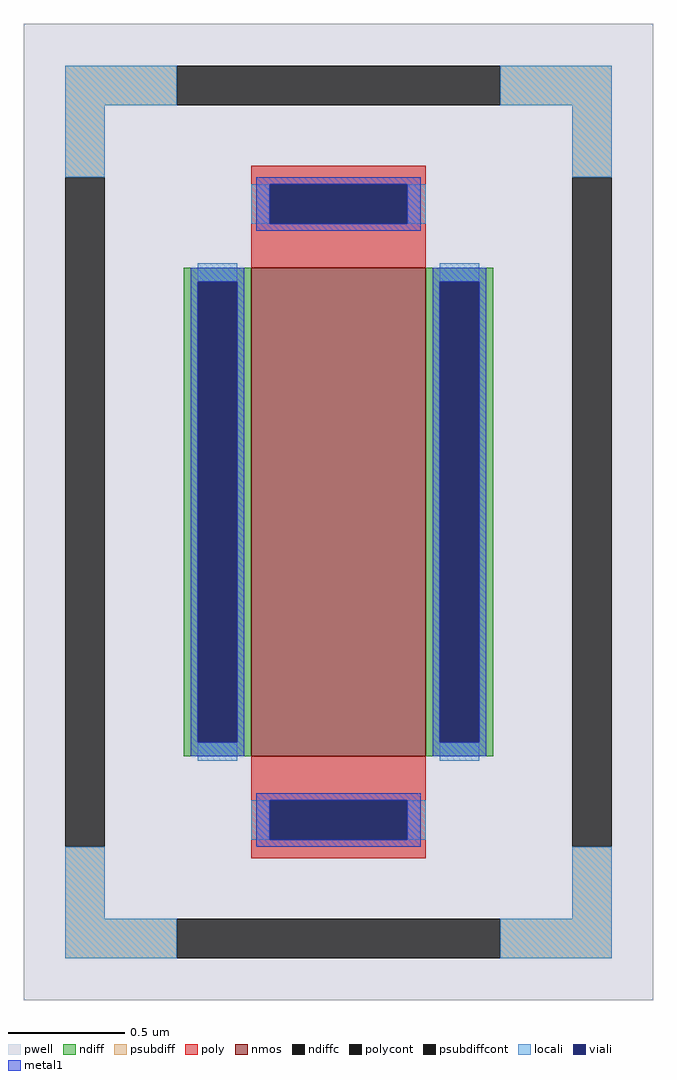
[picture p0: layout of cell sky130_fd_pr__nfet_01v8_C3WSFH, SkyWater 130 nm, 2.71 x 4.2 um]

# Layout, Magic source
magic
tech sky130A
magscale 1 2
<< pwell >>
rect -271 -420 271 420
<< nmos >>
rect -75 -210 75 210
<< ndiff >>
rect -133 198 -75 210
rect -133 -198 -121 198
rect -87 -198 -75 198
rect -133 -210 -75 -198
rect 75 198 133 210
rect 75 -198 87 198
rect 121 -198 133 198
rect 75 -210 133 -198
<< ndiffc >>
rect -121 -198 -87 198
rect 87 -198 121 198
<< psubdiff >>
rect -235 350 -139 384
rect 139 350 235 384
rect -235 288 -201 350
rect 201 288 235 350
rect -235 -350 -201 -288
rect 201 -350 235 -288
rect -235 -384 -139 -350
rect 139 -384 235 -350
<< psubdiffcont >>
rect -139 350 139 384
rect -235 -288 -201 288
rect 201 -288 235 288
rect -139 -384 139 -350
<< poly >>
rect -75 282 75 298
rect -75 248 -59 282
rect 59 248 75 282
rect -75 210 75 248
rect -75 -248 75 -210
rect -75 -282 -59 -248
rect 59 -282 75 -248
rect -75 -298 75 -282
<< polycont >>
rect -59 248 59 282
rect -59 -282 59 -248
<< locali >>
rect -235 350 -139 384
rect 139 350 235 384
rect -235 288 -201 350
rect 201 288 235 350
rect -75 248 -59 282
rect 59 248 75 282
rect -121 198 -87 214
rect -121 -214 -87 -198
rect 87 198 121 214
rect 87 -214 121 -198
rect -75 -282 -59 -248
rect 59 -282 75 -248
rect -235 -350 -201 -288
rect 201 -350 235 -288
rect -235 -384 -139 -350
rect 139 -384 235 -350
<< viali >>
rect -59 248 59 282
rect -121 -198 -87 198
rect 87 -198 121 198
rect -59 -282 59 -248
<< metal1 >>
rect -71 282 71 288
rect -71 248 -59 282
rect 59 248 71 282
rect -71 242 71 248
rect -127 198 -81 210
rect -127 -198 -121 198
rect -87 -198 -81 198
rect -127 -210 -81 -198
rect 81 198 127 210
rect 81 -198 87 198
rect 121 -198 127 198
rect 81 -210 127 -198
rect -71 -248 71 -242
rect -71 -282 -59 -248
rect 59 -282 71 -248
rect -71 -288 71 -282
<< properties >>
string FIXED_BBOX -218 -367 218 367
string gencell sky130_fd_pr__nfet_01v8
string library sky130
string parameters w 2.1 l 0.75 m 1 nf 1 diffcov 100 polycov 100 guard 1 glc 1 grc 1 gtc 1 gbc 1 tbcov 100 rlcov 100 topc 1 botc 1 poverlap 0 doverlap 1 lmin 0.15 wmin 0.42 class mosfet compatible {sky130_fd_pr__nfet_01v8 sky130_fd_pr__nfet_01v8_lvt  sky130_fd_bs_flash__special_sonosfet_star  sky130_fd_pr__nfet_g5v0d10v5 sky130_fd_pr__nfet_05v0_nvt  sky130_fd_pr__nfet_03v3_nvt} full_metal 1 viasrc 100 viadrn 100 viagate 100 viagb 0 viagr 0 viagl 0 viagt 0
<< end >>
